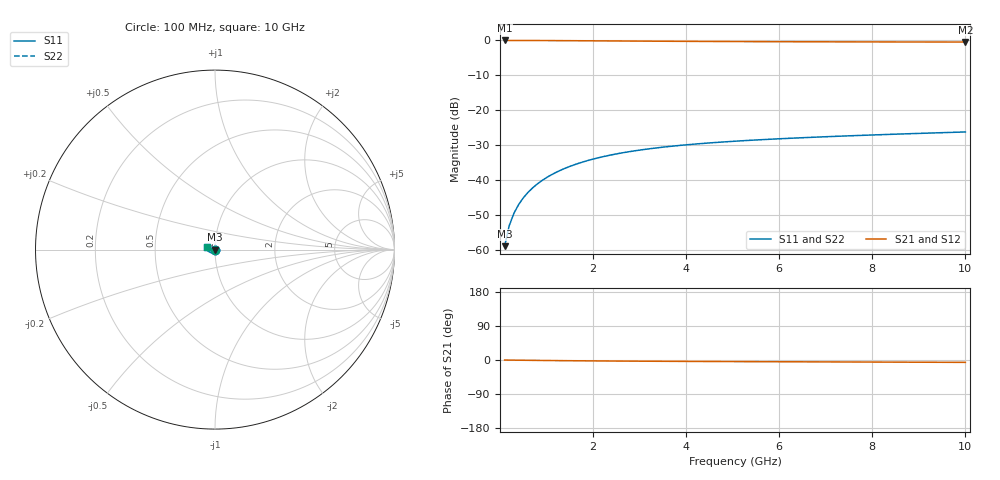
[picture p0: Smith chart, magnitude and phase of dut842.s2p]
! Touchstone file exported from HFSS 2024.1.0
!  File:  C:/UserFiles/LocalFiles/RDL_TSV_Batchsim/temp_TSV1_842_1779880223.aedt
!  Generated:  07:16:28 PM May 27, 2026
!  Design:  TSV1
!  Project:  temp_TSV1_842_1779880223
!  Setup:  Setup1
!  Solution:  Sweep
! Variables:
!  dtsv = 8.12um
!  hbump = 3um
!  htsv = 97.87um
!  lrdl = 252.1521522um
!  p = 40
!  p1 = 51.59um
!  t = 500um
!  trdl = 3um
!  wrdl = 24.89489489um
# GHz S MA R 50.000000
! Terminal data exported
! Port[1] = TSV22_T1
! Port[2] = TSV22_T2
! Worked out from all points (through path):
!   100 points, 100 MHz to 10 GHz, reference 50 ohm
!   highest |S21| = 0.00 dB at 100 MHz (marker M1); lowest = -0.5 dB at 10 GHz (marker M2)
!   lowest |S11| = -58.8 dB at 100 MHz (marker M3), VSWR 1.00, Z = 50 - j0.112 ohm
!   |S11| at or under -10 dB: start of sweep to end of sweep
!   |S22| runs from -58.8 to -26.2 dB; largest |S21 - S12| = 6e-15
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0.1  0.001144 -79.4  0.9997 -0.1  0.9997 -0.1  0.001144 -79.4
! Gamma 0 0 0 0
! Port Impedance 50 0 50 0
0.2  0.002255 -87.3  0.9996 -0.3  0.9996 -0.3  0.002255 -87.3
0.3  0.003373 -91.4  0.9994 -0.4  0.9994 -0.4  0.003373 -91.4
0.4  0.004487 -94.4  0.9991 -0.5  0.9991 -0.5  0.004487 -94.4
0.5  0.005593 -97.0  0.9987 -0.7  0.9987 -0.7  0.005593 -97.0
0.6  0.006688 -99.3  0.9983 -0.8  0.9983 -0.8  0.006688 -99.3
0.7  0.007771 -101.5  0.9979 -0.9  0.9979 -0.9  0.007771 -101.5
0.8  0.00884 -103.7  0.9973 -1.1  0.9973 -1.1  0.00884 -103.7
0.9  0.009892 -105.7  0.9967 -1.2  0.9967 -1.2  0.009892 -105.7
1.1  0.01194 -109.7  0.9954 -1.4  0.9954 -1.4  0.01194 -109.7
1.4  0.01487 -115.3  0.993 -1.8  0.993 -1.8  0.01487 -115.3
1.6  0.01671 -118.9  0.9913 -2.0  0.9913 -2.0  0.01671 -118.9
1.8  0.01845 -122.3  0.9895 -2.2  0.9895 -2.2  0.01845 -122.3
2.1  0.0209 -127.3  0.9867 -2.4  0.9867 -2.4  0.0209 -127.3
2.5  0.02384 -133.4  0.983 -2.8  0.983 -2.8  0.02384 -133.4
2.9  0.02644 -139.1  0.9794 -3.1  0.9794 -3.1  0.02644 -139.1
3.4  0.02927 -145.7  0.9751 -3.4  0.9751 -3.4  0.02927 -145.7
4.2  0.03302 -154.9  0.9692 -3.8  0.9692 -3.8  0.03302 -154.9
5.1  0.03642 -163.9  0.9638 -4.2  0.9638 -4.2  0.03642 -163.9
6.7  0.0412 -177.1  0.9569 -4.9  0.9569 -4.9  0.0412 -177.1
8.4  0.04545 171.7  0.9521 -5.6  0.9521 -5.6  0.04545 171.7
10  0.04915 162.9  0.9489 -6.3  0.9489 -6.3  0.04915 162.9
